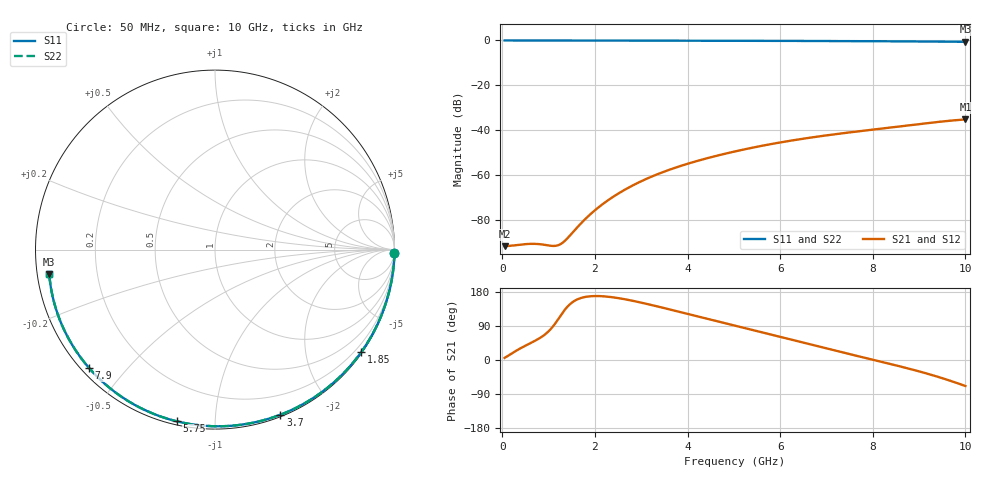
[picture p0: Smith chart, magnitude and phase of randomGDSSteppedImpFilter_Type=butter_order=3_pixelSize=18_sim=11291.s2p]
! freq	dB(S11)	phase(S11)	dB(S12)	phase(S12)
!  dB(S21)	phase(S21)	dB(S22)	phase(S22)
!S-par simulation data
#  GHz  S  DB  R 50
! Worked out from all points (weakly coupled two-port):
!   200 points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, 50 MHz to 10 GHz, reference 50 ohm
!   highest |S21| = -35.11 dB at 10 GHz (marker M1); lowest = -91.4 dB at 50 MHz (marker M2)
!   lowest |S11| = -0.6 dB at 10 GHz (marker M3), VSWR 29.13, Z = 1.73 - j3.66 ohm
!   |S11| at or under -10 dB: nowhere
!   |S22| runs from -0.6 to 0.0 dB; largest |S21 - S12| = 0
!   S11 on the Smith chart (normalised r, x): 50 MHz: open; 1.85 GHz: 0.03, -3.16; 3.7 GHz: 0.02, -1.47; 5.75 GHz: 0.02, -0.80; 7.9 GHz: 0.02, -0.40; 10 GHz: 0.03, -0.07
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0.05  -0.00 -1.0  -91.43 5.5  -91.43 5.5  -0.00 -1.0
0.45  -0.01 -8.7  -90.62 34.7  -90.62 34.7  -0.01 -8.7
0.85  -0.02 -16.3  -90.64 61.0  -90.64 61.0  -0.02 -16.3
1.3  -0.03 -24.9  -89.95 124.4  -89.95 124.4  -0.03 -24.9
1.75  -0.04 -33.3  -80.23 165.3  -80.23 165.3  -0.04 -33.3
1.85  -0.04 -35.1  -78.22 167.6  -78.22 167.6  -0.04 -35.1
2  -0.05 -37.9  -75.48 168.8  -75.48 168.8  -0.05 -37.9
2.2  -0.05 -41.6  -72.25 167.9  -72.25 167.9  -0.05 -41.6
2.55  -0.06 -48.0  -67.48 162.4  -67.48 162.4  -0.06 -48.0
2.95  -0.07 -55.2  -63.06 152.7  -63.06 152.7  -0.07 -55.2
3.4  -0.08 -63.1  -59.05 139.9  -59.05 139.9  -0.08 -63.1
3.7  -0.09 -68.4  -56.80 130.9  -56.80 130.9  -0.09 -68.4
4.3  -0.11 -78.6  -53.02 112.6  -53.02 112.6  -0.11 -78.6
5.05  -0.14 -91.2  -49.20 89.9  -49.20 89.9  -0.14 -91.2
5.75  -0.17 -102.6  -46.26 68.6  -46.26 68.6  -0.17 -102.6
6.2  -0.20 -109.8  -44.63 54.8  -44.63 54.8  -0.20 -109.8
6.7  -0.23 -117.7  -43.04 39.5  -43.04 39.5  -0.23 -117.7
7.3  -0.28 -127.2  -41.38 21.4  -41.38 21.4  -0.28 -127.2
7.9  -0.33 -136.7  -39.87 3.7  -39.87 3.7  -0.33 -136.7
8.35  -0.37 -143.9  -38.77 -9.6  -38.77 -9.6  -0.37 -143.9
9.2  -0.47 -157.8  -36.70 -36.9  -36.70 -36.9  -0.47 -157.8
10  -0.60 -171.6  -35.11 -68.6  -35.11 -68.6  -0.60 -171.6
